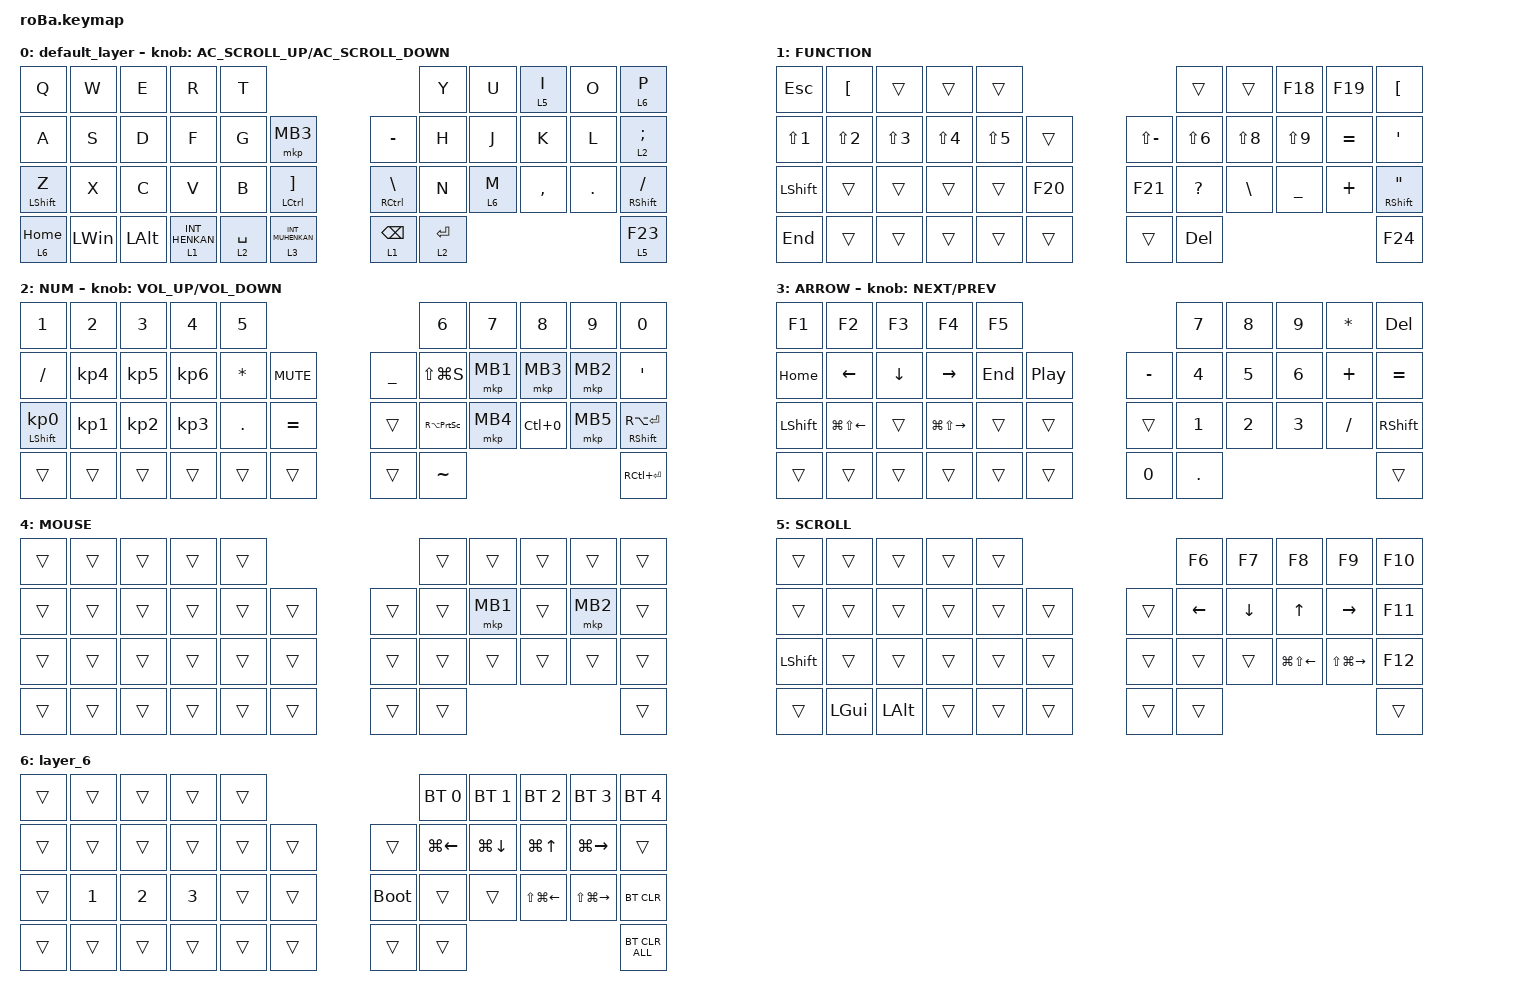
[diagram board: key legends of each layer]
#include <behaviors.dtsi>
#include <dt-bindings/zmk/bt.h>
#include <dt-bindings/zmk/keys.h>
#include <dt-bindings/zmk/pointing.h>

#define MOUSE 4
#define SCROLL 5
#define NUM 6

&mt {
    flavor = "balanced";
    quick-tap-ms = <0>;
};

/ {
    combos {
        compatible = "zmk,combos";

        tab {
            bindings = <&kp TAB>;
            key-positions = <11 12>;
        };

        shift_tab {
            bindings = <&kp LS(TAB)>;
            key-positions = <12 13>;
        };

        muhennkann {
            bindings = <&to_layer_0 INT_MUHENKAN>;
            key-positions = <11 10>;
        };

        double_quotation {
            bindings = <&kp DOUBLE_QUOTES>;
            key-positions = <20 21>;
        };

        eq {
            bindings = <&kp EQUAL>;
            key-positions = <24 25>;
        };
    };

    macros {
        to_layer_0: to_layer_0 {
            compatible = "zmk,behavior-macro-one-param";
            #binding-cells = <1>;
            bindings = <&to 0 &macro_param_1to1 &kp MACRO_PLACEHOLDER>;
            label = "TO_LAYER_0";
        };
    };

    behaviors {
        lt_to_layer_0: lt_to_layer_0 {
            compatible = "zmk,behavior-hold-tap";
            label = "LAYER_TAP_TO_0";
            bindings = <&mo>, <&to_layer_0>;

            #binding-cells = <2>;
            tapping-term-ms = <200>;
        };
    };

    keymap {
        compatible = "zmk,keymap";

        default_layer {
            bindings = <
&kp Q             &kp W         &kp E         &kp R             &kp T                                                                  &kp Y        &kp U    &lt 5 I    &kp O    &lt 6 P
&kp A             &kp S         &kp D         &kp F             &kp G        &mkp MB3                     &kp MINUS                    &kp H        &kp J    &kp K      &kp L    &lt 2 SEMICOLON
&mt LEFT_SHIFT Z  &kp X         &kp C         &kp V             &kp B        &mt LCTRL RIGHT_BRACKET      &mt RIGHT_CONTROL BACKSLASH  &kp N        &lt 6 M  &kp COMMA  &kp DOT  &mt RIGHT_SHIFT SLASH
&lt 6 HOME        &kp LEFT_WIN  &kp LEFT_ALT  &lt 1 INT_HENKAN  &lt 2 SPACE  &lt 3 INT_MUHENKAN           &lt 1 BACKSPACE              &lt 2 ENTER                               &lt 5 F23
            >;

            sensor-bindings = <&inc_dec_kp C_AC_SCROLL_UP C_AC_SCROLL_DOWN>;
        };

        FUNCTION {
            bindings = <
&kp ESCAPE        &kp LEFT_BRACKET  &trans            &trans            &trans                                  &trans            &trans         &kp F18         &kp F19    &kp LEFT_BRACKET
&kp LS(NUMBER_1)  &kp LS(NUMBER_2)  &kp LS(NUMBER_3)  &kp LS(NUMBER_4)  &kp LS(N5)  &trans       &kp LS(MINUS)  &kp LS(NUMBER_6)  &kp LS(N8)     &kp LS(N9)      &kp EQUAL  &kp SINGLE_QUOTE
&kp LEFT_SHIFT    &trans            &trans            &trans            &trans      &kp F20      &kp F21        &kp QUESTION      &kp BACKSLASH  &kp UNDERSCORE  &kp PLUS   &mt RIGHT_SHIFT DOUBLE_QUOTES
&kp END           &trans            &trans            &trans            &trans      &trans       &trans         &kp DEL                                                     &kp F24
            >;
        };

        NUM {
            bindings = <
&kp NUMBER_1                &kp NUMBER_2     &kp NUMBER_3     &kp NUMBER_4     &kp N5                                        &kp NUMBER_6         &kp N7    &kp N8      &kp N9    &kp N0
&kp SLASH                   &kp KP_NUMBER_4  &kp KP_NUMBER_5  &kp KP_NUMBER_6  &kp ASTERISK  &kp C_MUTE      &kp UNDERSCORE  &kp LS(LG(S))        &mkp MB1  &mkp MB3    &mkp MB2  &kp SQT
&mt LEFT_SHIFT KP_NUMBER_0  &kp KP_NUMBER_1  &kp KP_NUMBER_2  &kp KP_NUMBER_3  &kp PERIOD    &kp EQUAL       &trans          &kp RA(PRINTSCREEN)  &mkp MB4  &kp LC(N0)  &mkp MB5  &mt RIGHT_SHIFT RA(ENTER)
&trans                      &trans           &trans           &trans           &trans        &trans          &trans          &kp TILDE                                            &kp RC(ENTER)
            >;

            sensor-bindings = <&inc_dec_kp C_VOLUME_UP C_VOLUME_DOWN>;
        };

        ARROW {
            bindings = <
&kp F1          &kp F2                  &kp F3          &kp F4                   &kp F5                            &kp N7        &kp N8        &kp N9        &kp ASTRK  &kp DELETE
&kp HOME        &kp LEFT_ARROW          &kp DOWN_ARROW  &kp RIGHT_ARROW          &kp END  &kp C_PP      &kp MINUS  &kp NUMBER_4  &kp N5        &kp NUMBER_6  &kp PLUS   &kp EQUAL
&kp LEFT_SHIFT  &kp LG(LS(LEFT_ARROW))  &trans          &kp LG(LS(RIGHT_ARROW))  &trans   &trans        &trans     &kp NUMBER_1  &kp NUMBER_2  &kp NUMBER_3  &kp SLASH  &kp RIGHT_SHIFT
&trans          &trans                  &trans          &trans                   &trans   &trans        &kp N0     &kp PERIOD                                           &trans
            >;

            sensor-bindings = <&inc_dec_kp C_NEXT C_PREV>;
        };

        MOUSE {
            bindings = <
&trans  &trans  &trans  &trans  &trans                      &trans  &trans    &trans  &trans    &trans
&trans  &trans  &trans  &trans  &trans  &trans      &trans  &trans  &mkp MB1  &trans  &mkp MB2  &trans
&trans  &trans  &trans  &trans  &trans  &trans      &trans  &trans  &trans    &trans  &trans    &trans
&trans  &trans  &trans  &trans  &trans  &trans      &trans  &trans                              &trans
            >;
        };

        SCROLL {
            bindings = <
&trans          &trans        &trans        &trans  &trans                      &kp F6          &kp F7          &kp F8                  &kp F9                   &kp F10
&trans          &trans        &trans        &trans  &trans  &trans      &trans  &kp LEFT_ARROW  &kp DOWN_ARROW  &kp UP_ARROW            &kp RIGHT_ARROW          &kp F11
&kp LEFT_SHIFT  &trans        &trans        &trans  &trans  &trans      &trans  &trans          &trans          &kp LG(LS(LEFT_ARROW))  &kp LS(LG(RIGHT_ARROW))  &kp F12
&trans          &kp LEFT_GUI  &kp LEFT_ALT  &trans  &trans  &trans      &trans  &trans                                                                           &trans
            >;
        };

        layer_6 {
            bindings = <
&trans  &trans        &trans        &trans        &trans                           &bt BT_SEL 0        &bt BT_SEL 1        &bt BT_SEL 2            &bt BT_SEL 3             &bt BT_SEL 4
&trans  &trans        &trans        &trans        &trans  &trans      &trans       &kp LG(LEFT_ARROW)  &kp LG(DOWN_ARROW)  &kp LG(UP_ARROW)        &kp LG(RIGHT_ARROW)      &trans
&trans  &kp NUMBER_1  &kp NUMBER_2  &kp NUMBER_3  &trans  &trans      &bootloader  &trans              &trans              &kp LS(LG(LEFT_ARROW))  &kp LS(LG(RIGHT_ARROW))  &bt BT_CLR
&trans  &trans        &trans        &trans        &trans  &trans      &trans       &trans                                                                                   &bt BT_CLR_ALL
            >;
        };
    };
};
